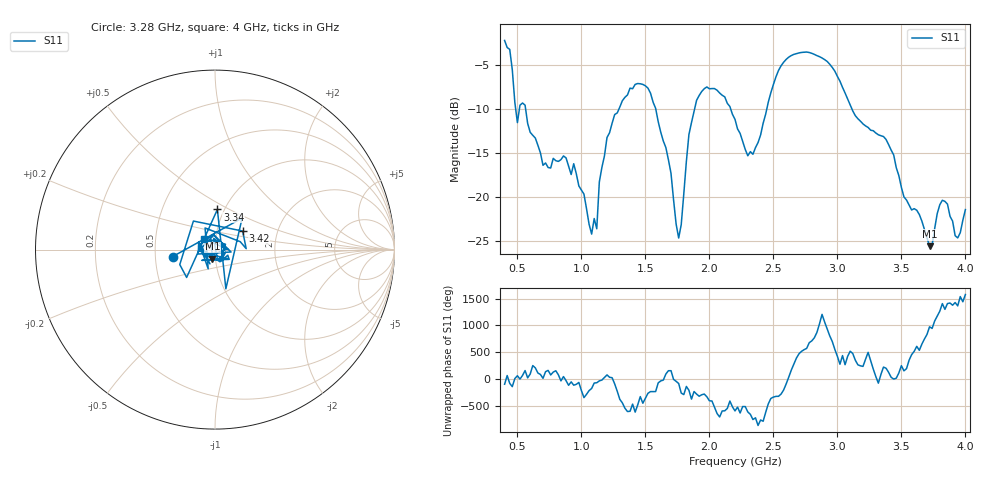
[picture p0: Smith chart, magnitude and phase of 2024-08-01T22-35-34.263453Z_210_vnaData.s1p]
!Created with skrf (http://scikit-rf.org).
# Hz S RI R 50.0
!freq ReS11 ImS11
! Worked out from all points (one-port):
!   181 points, 400 MHz to 4 GHz, reference 50 ohm
!   lowest |S11| = -25.6 dB at 3.72 GHz (marker M1), VSWR 1.11, Z = 48.3 - j4.91 ohm
!   |S11| at or under -10 dB: 564.6 MHz to 1.292 GHz (727.6 MHz wide, 78.4 % of centre); 1.581 GHz to 1.884 GHz (302.1 MHz wide, 17.4 % of centre); 3.115 GHz to end of sweep (the widest 3 of 5)
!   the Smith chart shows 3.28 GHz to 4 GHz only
!   S11 on the Smith chart (normalised r, x): 3.28 GHz: 0.62, -0.05; 3.34 GHz: 0.93, +0.44; 3.42 GHz: 1.33, +0.28; 4 GHz: 0.88, +0.11
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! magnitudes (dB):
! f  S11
! 400 MHz  -2.2
! 440 MHz  -3.2
! 500 MHz  -11.5
! 560 MHz  -9.5
! 700 MHz  -16.4
! 860 MHz  -15.3
! 1.08 GHz  -24.2
! 1.12 GHz  -23.6
! 1.14 GHz  -18.3
! 1.2 GHz  -13.2
! 1.3 GHz  -9.7
! 1.54 GHz  -8.2
! 1.68 GHz  -15.7
! 1.76 GHz  -24.6
! 1.84 GHz  -12.9
! 1.9 GHz  -9.0
! 2.2 GHz  -11.1
! 2.34 GHz  -15.1
! 2.66 GHz  -3.7
! 3.1 GHz  -9.5
! 3.28 GHz  -12.4
! 3.34 GHz  -13.0
! 3.42 GHz  -14.6
! 3.56 GHz  -20.9
! 3.72 GHz  -25.6
! 3.82 GHz  -20.3
! 3.94 GHz  -24.6
! 4 GHz  -21.4
